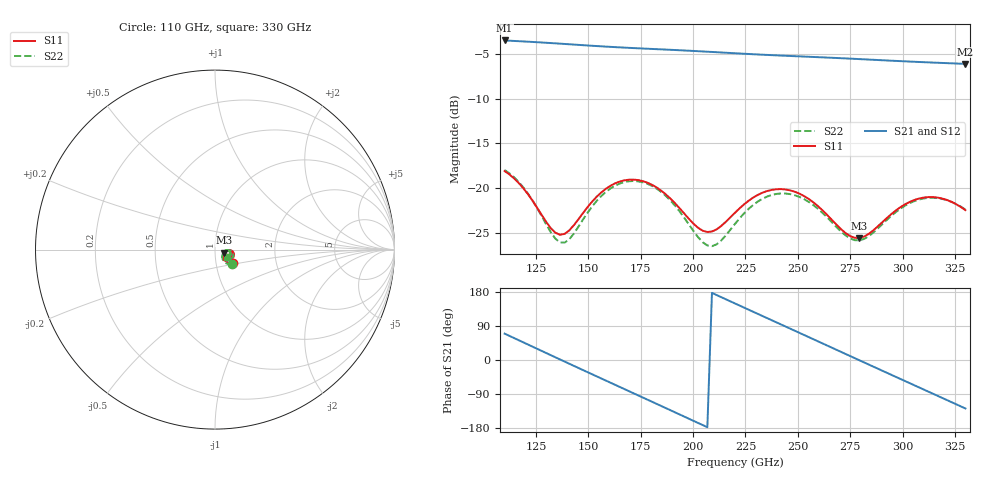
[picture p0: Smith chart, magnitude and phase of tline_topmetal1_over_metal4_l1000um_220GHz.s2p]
#  GHZ S DB R 50
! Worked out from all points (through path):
!   101 points, 110 GHz to 330 GHz, reference 50 ohm
!   highest |S21| = -3.51 dB at 110 GHz (marker M1); lowest = -6.1 dB at 330 GHz (marker M2)
!   group delay of S21, straight-line fit = 7.03 ps
!   lowest |S11| = -25.6 dB at 279.4 GHz (marker M3), VSWR 1.11, Z = 55.2 - j1.84 ohm
!   |S11| at or under -10 dB: start of sweep to end of sweep
!   |S22| runs from -26.5 to -18.0 dB; largest |S21 - S12| = 1.1e-13
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110  -18.11 -36.3  -3.51 69.5  -3.51 69.5  -17.99 -39.6
123.2  -21.39 -47.2  -3.67 35.6  -3.67 35.6  -21.35 -52.9
136.4  -25.24 -24.9  -3.86 1.6  -3.86 1.6  -26.09 -31.3
140.8  -24.77 -12.0  -3.93 -9.7  -3.93 -9.7  -25.76 -15.7
147.4  -22.82 -2.3  -4.03 -26.5  -4.03 -26.5  -23.55 -3.4
158.4  -20.09 -6.0  -4.19 -54.5  -4.19 -54.5  -20.43 -7.0
167.2  -19.15 -15.7  -4.31 -76.7  -4.31 -76.7  -19.35 -17.6
176  -19.24 -26.6  -4.41 -99.1  -4.41 -99.1  -19.37 -29.6
184.8  -20.31 -35.8  -4.50 -121.4  -4.50 -121.4  -20.46 -40.4
195.8  -22.88 -38.7  -4.63 -149.4  -4.63 -149.4  -23.34 -46.2
206.8  -24.93 -22.5  -4.76 -177.4  -4.76 -177.4  -26.44 -28.7
220  -22.77 -5.0  -4.94 149.2  -4.94 149.2  -24.02 -3.1
231  -20.77 -9.6  -5.07 121.4  -5.07 121.4  -21.51 -7.2
239.8  -20.15 -18.4  -5.17 99.3  -5.17 99.3  -20.67 -16.4
248.6  -20.43 -28.0  -5.26 77.1  -5.26 77.1  -20.82 -26.4
257.4  -21.61 -35.5  -5.35 54.9  -5.35 54.9  -21.92 -34.4
268.4  -24.10 -35.7  -5.47 27.1  -5.47 27.1  -24.36 -35.1
279.4  -25.60 -18.4  -5.59 -0.7  -5.59 -0.7  -25.86 -18.0
294.8  -22.90 -4.1  -5.77 -39.5  -5.77 -39.5  -23.09 -3.6
312.4  -21.03 -17.2  -5.96 -83.7  -5.96 -83.7  -21.11 -16.6
321.2  -21.35 -25.8  -6.04 -105.8  -6.04 -105.8  -21.38 -25.1
330  -22.49 -32.0  -6.12 -127.9  -6.12 -127.9  -22.41 -31.1
